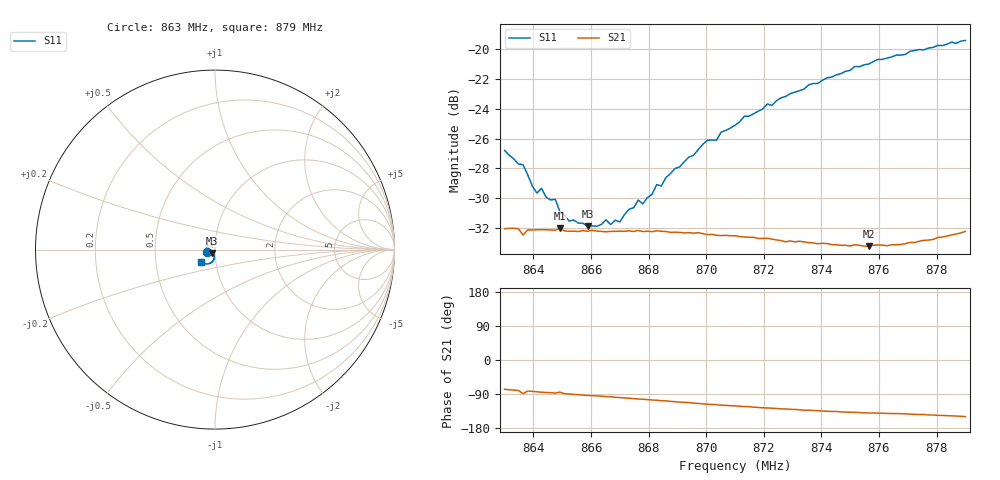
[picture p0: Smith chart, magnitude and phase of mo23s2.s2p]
# HZ S RI R 50
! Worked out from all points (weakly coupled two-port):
!   101 points, 863 MHz to 879 MHz, reference 50 ohm
!   highest |S21| = -32.00 dB at 864.92 MHz (marker M1); lowest = -33.2 dB at 875.64 MHz (marker M2)
!   lowest |S11| = -31.9 dB at 865.88 MHz (marker M3), VSWR 1.05, Z = 48.3 - j1.87 ohm
!   |S11| at or under -10 dB: start of sweep to end of sweep
!   S12 and S22 are empty: the file has one direction only
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8.63e8  -0.0429 -0.0159  0.00556 -0.0244  0 0  0 0
8.6364e8  -0.0375 -0.0164  0.00048 -0.0238  0 0  0 0
8.6412e8  -0.0298 -0.0139  0.00264 -0.0246  0 0  0 0
8.6428e8  -0.0301 -0.016  0.00216 -0.0247  0 0  0 0
8.6444e8  -0.0286 -0.0141  0.00184 -0.0247  0 0  0 0
8.6476e8  -0.0267 -0.0164  0.00114 -0.0246  0 0  0 0
8.6492e8  -0.022 -0.0181  0.00236 -0.025  0 0  0 0
8.6524e8  -0.0217 -0.0152  0.000166 -0.0245  0 0  0 0
8.6572e8  -0.0182 -0.0187  -0.00111 -0.0246  0 0  0 0
8.6588e8  -0.0166 -0.0193  -0.00152 -0.0244  0 0  0 0
8.67e8  -0.0107 -0.024  -0.00389 -0.0242  0 0  0 0
8.6764e8  -0.00804 -0.0301  -0.00551 -0.024  0 0  0 0
8.678e8  -0.00643 -0.0296  -0.00573 -0.0237  0 0  0 0
8.6828e8  -0.00507 -0.0348  -0.00683 -0.0236  0 0  0 0
8.6844e8  -0.0048 -0.0344  -0.00727 -0.0234  0 0  0 0
8.7004e8  -0.00476 -0.0493  -0.0107 -0.0214  0 0  0 0
8.7036e8  -0.00438 -0.0493  -0.0111 -0.021  0 0  0 0
8.71e8  -0.00622 -0.0552  -0.0122 -0.0203  0 0  0 0
8.7372e8  -0.0211 -0.0738  -0.0153 -0.0163  0 0  0 0
8.7564e8  -0.0408 -0.0794  -0.0167 -0.0141  0 0  0 0
8.7644e8  -0.0503 -0.0797  -0.0172 -0.0138  0 0  0 0
8.79e8  -0.0802 -0.0709  -0.021 -0.0124  0 0  0 0
